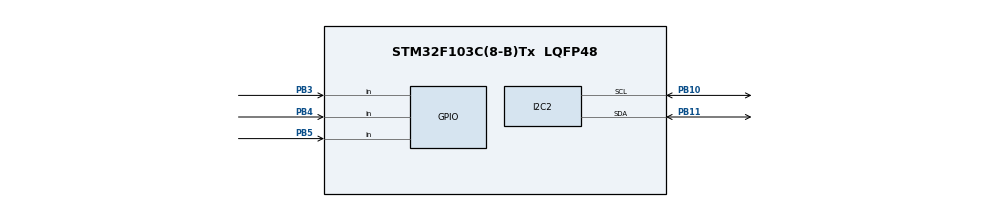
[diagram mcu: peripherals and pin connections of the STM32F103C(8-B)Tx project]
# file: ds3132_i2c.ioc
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Mcu.Family=STM32F1
Mcu.Name=STM32F103C(8-B)Tx
Mcu.Package=LQFP48
NVIC.PriorityGroup=NVIC_PRIORITYGROUP_4
NVIC.TIM1_UP_IRQn=true\:0\:0\:false\:false\:true\:true\:true\:true
PA13.Mode=Serial_Wire
PA13.Signal=SYS_JTMS-SWDIO
PA14.Mode=Serial_Wire
PA14.Signal=SYS_JTCK-SWCLK
PB10.Mode=I2C
PB10.Signal=I2C2_SCL
PB11.Mode=I2C
PB11.Signal=I2C2_SDA
PB3.GPIO_PuPd=GPIO_PULLUP
PB3.Signal=GPIO_Input
PB4.GPIO_PuPd=GPIO_PULLUP
PB4.Signal=GPIO_Input
PB5.GPIO_PuPd=GPIO_PULLUP
PB5.Signal=GPIO_Input
ProjectManager.HeapSize=0x200
ProjectManager.StackSize=0x400
ProjectManager.TargetToolchain=MDK-ARM V5.32
RCC.APB1Freq_Value=8000000
RCC.APB2Freq_Value=8000000
TIM1.Period=999
TIM1.Prescaler=7999
VP_TIM1_VS_ClockSourceINT.Mode=Internal
board=custom

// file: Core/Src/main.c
/* USER CODE BEGIN Header */
/**
  ******************************************************************************
  * @file           : main.c
  * @brief          : Main program body
  ******************************************************************************
  * @attention
  *
  * Copyright (c) 2026 STMicroelectronics.
  * All rights reserved.
  *
  * This software is licensed under terms that can be found in the LICENSE file
  * in the root directory of this software component.
  * If no LICENSE file comes with this software, it is provided AS-IS.
  *
  ******************************************************************************
  */
/* USER CODE END Header */
#include "main.h"

/* USER CODE BEGIN Includes */
#include "ds3231.h"
#include "i2c_lcd.h"
#include "ky040.h"
#include "clock_ui.h"
/* USER CODE END Includes */

I2C_HandleTypeDef hi2c2;

TIM_HandleTypeDef htim1;

/* USER CODE BEGIN PV */
/* Global (zero-initialized) so KY040_Tick() is safe even before KY040_Init() */
KY040_Handle enc;
I2C_LCD_HandleTypeDef lcd1;
/* USER CODE END PV */

void SystemClock_Config(void);
static void MX_GPIO_Init(void);
static void MX_I2C2_Init(void);
static void MX_TIM1_Init(void);

int main(void)
{

  /* MCU Configuration--------------------------------------------------------*/

  /* Reset of all peripherals, Initializes the Flash interface and the Systick. */
  HAL_Init();

  /* Configure the system clock */
  SystemClock_Config();

  /* Initialize all configured peripherals */
  MX_GPIO_Init();
  MX_I2C2_Init();
  MX_TIM1_Init();
  /* USER CODE BEGIN 2 */

  /* LCD 16x2 (I2C) */
  lcd1.hi2c = &hi2c2;
  lcd1.address = 0x4E;
  lcd_init(&lcd1);

  /* DS3231 driver */
  DS3231_Init(&hi2c2);

  /* KY-040: PB3 = CLK, PB4 = DT, PB5 = SW (swap CLK/DT or set KY040_REVERSE
   * in ky040.h if the rotation direction is wrong) */
  KY040_Init(&enc, GPIOB, GPIO_PIN_3,
                   GPIOB, GPIO_PIN_4,
                   GPIOB, GPIO_PIN_5);

  /* TIM1 now ticks every 1 ms (8 MHz / 8 / 1000) instead of 1 s,
   * it drives KY040_Tick() in HAL_TIM_PeriodElapsedCallback() below. */
  htim1.Init.Prescaler = 7;
  htim1.Init.Period = 999;
  if (HAL_TIM_Base_Init(&htim1) != HAL_OK)
  {
    Error_Handler();
  }
  HAL_TIM_Base_Start_IT(&htim1);

  /* Clock/date screen + menu */
  ClockUI_Init(&enc, &lcd1);

  /* USER CODE END 2 */

  /* Infinite loop */
  while (1)
  {

    /* USER CODE BEGIN 3 */
    ClockUI_Process();      /* non-blocking: do not add HAL_Delay() here */
  }
  /* USER CODE END 3 */
}

void SystemClock_Config(void)
{
  RCC_OscInitTypeDef RCC_OscInitStruct = {0};
  RCC_ClkInitTypeDef RCC_ClkInitStruct = {0};

  /** Initializes the RCC Oscillators according to the specified parameters
  * in the RCC_OscInitTypeDef structure.
  */
  RCC_OscInitStruct.OscillatorType = RCC_OSCILLATORTYPE_HSI;
  RCC_OscInitStruct.HSIState = RCC_HSI_ON;
  RCC_OscInitStruct.HSICalibrationValue = RCC_HSICALIBRATION_DEFAULT;
  RCC_OscInitStruct.PLL.PLLState = RCC_PLL_NONE;
  if (HAL_RCC_OscConfig(&RCC_OscInitStruct) != HAL_OK)
  {
    Error_Handler();
  }

  /** Initializes the CPU, AHB and APB buses clocks
  */
  RCC_ClkInitStruct.ClockType = RCC_CLOCKTYPE_HCLK|RCC_CLOCKTYPE_SYSCLK
                              |RCC_CLOCKTYPE_PCLK1|RCC_CLOCKTYPE_PCLK2;
  RCC_ClkInitStruct.SYSCLKSource = RCC_SYSCLKSOURCE_HSI;
  RCC_ClkInitStruct.AHBCLKDivider = RCC_SYSCLK_DIV1;
  RCC_ClkInitStruct.APB1CLKDivider = RCC_HCLK_DIV1;
  RCC_ClkInitStruct.APB2CLKDivider = RCC_HCLK_DIV1;

  if (HAL_RCC_ClockConfig(&RCC_ClkInitStruct, FLASH_LATENCY_0) != HAL_OK)
  {
    Error_Handler();
  }
}

static void MX_I2C2_Init(void)
{

  hi2c2.Instance = I2C2;
  hi2c2.Init.ClockSpeed = 100000;
  hi2c2.Init.DutyCycle = I2C_DUTYCYCLE_2;
  hi2c2.Init.OwnAddress1 = 0;
  hi2c2.Init.AddressingMode = I2C_ADDRESSINGMODE_7BIT;
  hi2c2.Init.DualAddressMode = I2C_DUALADDRESS_DISABLE;
  hi2c2.Init.OwnAddress2 = 0;
  hi2c2.Init.GeneralCallMode = I2C_GENERALCALL_DISABLE;
  hi2c2.Init.NoStretchMode = I2C_NOSTRETCH_DISABLE;
  if (HAL_I2C_Init(&hi2c2) != HAL_OK)
  {
    Error_Handler();
  }

}

static void MX_TIM1_Init(void)
{

  TIM_ClockConfigTypeDef sClockSourceConfig = {0};
  TIM_MasterConfigTypeDef sMasterConfig = {0};

  htim1.Instance = TIM1;
  htim1.Init.Prescaler = 7999;
  htim1.Init.CounterMode = TIM_COUNTERMODE_UP;
  htim1.Init.Period = 999;
  htim1.Init.ClockDivision = TIM_CLOCKDIVISION_DIV1;
  htim1.Init.RepetitionCounter = 0;
  htim1.Init.AutoReloadPreload = TIM_AUTORELOAD_PRELOAD_DISABLE;
  if (HAL_TIM_Base_Init(&htim1) != HAL_OK)
  {
    Error_Handler();
  }
  sClockSourceConfig.ClockSource = TIM_CLOCKSOURCE_INTERNAL;
  if (HAL_TIM_ConfigClockSource(&htim1, &sClockSourceConfig) != HAL_OK)
  {
    Error_Handler();
  }
  sMasterConfig.MasterOutputTrigger = TIM_TRGO_RESET;
  sMasterConfig.MasterSlaveMode = TIM_MASTERSLAVEMODE_DISABLE;
  if (HAL_TIMEx_MasterConfigSynchronization(&htim1, &sMasterConfig) != HAL_OK)
  {
    Error_Handler();
  }

}

static void MX_GPIO_Init(void)
{
  GPIO_InitTypeDef GPIO_InitStruct = {0};

  /* GPIO Ports Clock Enable */
  __HAL_RCC_GPIOB_CLK_ENABLE();
  __HAL_RCC_GPIOA_CLK_ENABLE();

  /*Configure GPIO pins : PB3 PB4 PB5 */
  GPIO_InitStruct.Pin = GPIO_PIN_3|GPIO_PIN_4|GPIO_PIN_5;
  GPIO_InitStruct.Mode = GPIO_MODE_INPUT;
  GPIO_InitStruct.Pull = GPIO_PULLUP;
  HAL_GPIO_Init(GPIOB, &GPIO_InitStruct);

}

/* USER CODE BEGIN 4 */
/* TIM1 update interrupt, every 1 ms: samples the KY-040 */
void HAL_TIM_PeriodElapsedCallback(TIM_HandleTypeDef *htim)
{
    if (htim->Instance == TIM1)
    {
        KY040_Tick(&enc);
    }
}
/* USER CODE END 4 */

void Error_Handler(void)
{
  __disable_irq();
  while (1)
  {
  }
}
